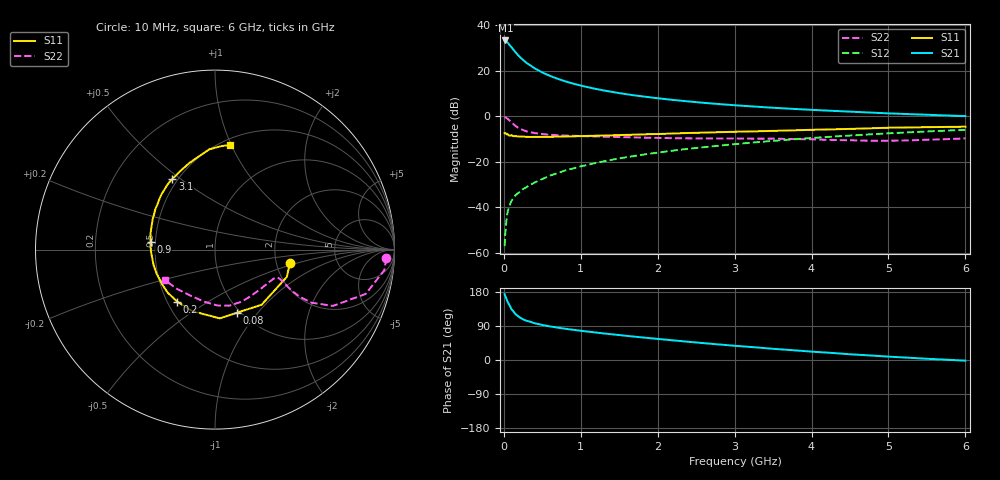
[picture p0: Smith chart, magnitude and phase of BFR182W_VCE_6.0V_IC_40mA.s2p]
! Infineon Technologies  Discrete & RF Semiconductors
! BFR182W
! VCE =  6.0 V,  IC =  40 mA
! Common Emitter S-Parameters:  Jan 2017
# GHz  S  MA  R  50
!  f  S11  S21  S12  S22
! GHz  MAG  ANG  MAG  ANG  MAG  ANG  MAG  ANG
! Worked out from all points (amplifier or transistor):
!   77 points, 10 MHz to 6 GHz, reference 50 ohm
!   highest |S21| = 33.3 dB at 20 MHz (marker M1)
!   |S21| within 3 dB of that: start of sweep to 99.56 MHz
!   unconditionally stable (mu >= 1): 488.5 MHz to 2.159 GHz
!   at 130 MHz: K = 0.57, MSG = 32.3 dB, |S12| = -35.6 dB
!   at 2.2 GHz: K = 1.00, MSG = 11.1 dB, |S12| = -15.1 dB
!   at 6 GHz: K = 0.86, MSG = 3.0 dB, |S12| = -6.0 dB
!   S11 on the Smith chart (normalised r, x): 10 MHz: 2.37, -0.44; 80 MHz: 0.96, -0.78; 200 MHz: 0.56, -0.37; 900 MHz: 0.47, +0.05; 3.1 GHz: 0.47, +0.47; 6 GHz: 0.55, +0.99
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0.01  0.424 -10.4  46.17 173.7  0.0014 84.0  0.9554 -2.9
0.02  0.4281 -20.8  46.2 168.3  0.0028 89.9  0.9506 -6.9
0.05  0.4023 -49.7  41.48 152.7  0.0081 73.4  0.8749 -16.4
0.08  0.3725 -71.2  35.68 142.3  0.0115 69.2  0.7846 -21.5
0.1  0.3841 -86.0  32.64 133.5  0.0138 67.6  0.7284 -25.5
0.15  0.3653 -110.2  25.59 121.3  0.0185 65.5  0.615 -28.8
0.2  0.3582 -126.0  20.62 113.2  0.0212 66.7  0.5431 -29.1
0.25  0.3564 -137.6  17.17 107.3  0.0252 66.8  0.4963 -28.4
0.3  0.3526 -145.8  14.61 103.2  0.028 68.0  0.4637 -27.4
0.4  0.352 -157.7  11.29 96.9  0.035 70.9  0.4271 -25.8
0.5  0.3529 -166.1  9.138 92.4  0.0417 71.5  0.4062 -24.7
0.6  0.3531 -172.8  7.701 88.6  0.0496 72.9  0.3925 -24.2
0.7  0.3566 -178.0  6.639 85.5  0.0565 74.1  0.3838 -24.2
0.9  0.3619 172.9  5.21 79.7  0.0713 74.5  0.3719 -25.2
1.1  0.3702 166.0  4.315 74.8  0.0863 74.7  0.3634 -26.9
1.3  0.3768 159.5  3.679 70.1  0.1022 74.0  0.3562 -29.3
1.5  0.3858 154.4  3.221 65.9  0.1184 73.5  0.349 -32.3
2.1  0.412 140.2  2.38 53.8  0.1674 70.1  0.332 -43.8
3.1  0.4593 121.2  1.7 36.1  0.2522 62.5  0.3233 -66.8
4.1  0.5076 105.0  1.356 20.8  0.3414 53.4  0.3076 -89.8
5.1  0.5621 92.1  1.14 7.8  0.4293 43.0  0.2915 -121.4
6  0.59 81.8  1.004 -1.7  0.503 33.1  0.3265 -148.8
